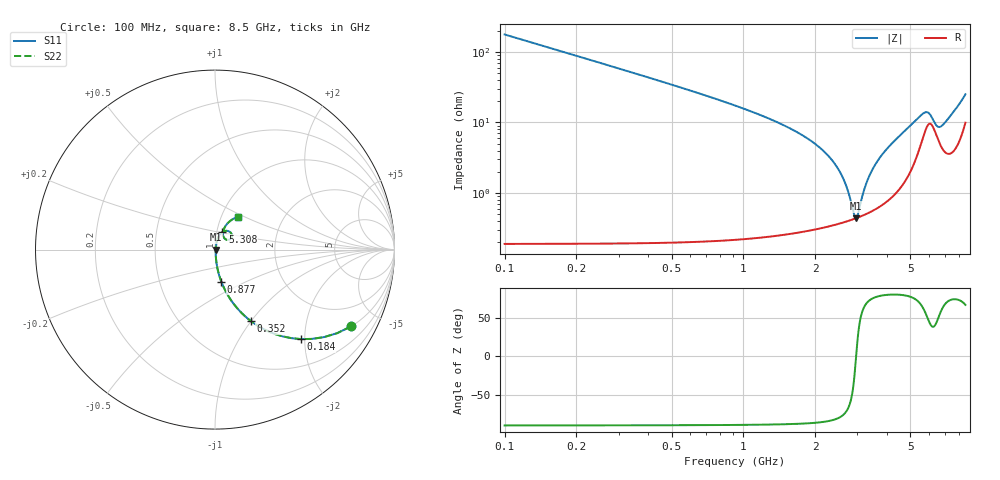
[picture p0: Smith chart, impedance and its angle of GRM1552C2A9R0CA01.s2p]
!Murata Part Number: GRM1552C2A9R0CA01
!These Parameters are Measured in Series Mode Connection
!Data Generated on Mar 30, 2021
!  o--ll--o
!Port1  Port2
!  o------o
!Operation Temp=25[degC], DC Bias Voltage=0[V]
!Freq. Start=100[MHz] Stop=9[GHz] 401[Steps]
# Hz S RI R 50
!Freq.(Hz) S11(Real) S11(Imag) S21(Real) S21(Imag) S12(Real) S12(Imag) S22(Real) S22(Imag)
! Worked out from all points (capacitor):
!   401 points, 100 MHz to 8.5 GHz, reference 50 ohm
!   read as one part in series: C = 9 pF near 142 MHz
!   lowest |Z| = 441 mohm at 2.956 GHz (marker M1)
!   series resonance near 2.964 GHz, so ESL is about 320 pH
!   S11 on the Smith chart (normalised r, x): 100 MHz: 1.00, -3.53; 184 MHz: 1.00, -1.92; 352 MHz: 1.00, -0.99; 877 MHz: 1.00, -0.37; 5.308 GHz: 1.06, +0.21; 8.5 GHz: 1.20, +0.46
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1e8  0.7571 -0.4283  0.2429 0.4283  0.2429 0.4283  0.7571 -0.4283
1.84e8  0.4784 -0.4985  0.5216 0.4985  0.5216 0.4985  0.4784 -0.4985
3.52e8  0.1982 -0.3967  0.8018 0.3967  0.8018 0.3967  0.1982 -0.3967
5.41e8  0.0925 -0.2866  0.9075 0.2866  0.9075 0.2866  0.0925 -0.2866
8.77e8  0.035 -0.178  0.965 0.178  0.965 0.178  0.035 -0.178
1.507e9  0.0102 -0.0871  0.9898 0.0871  0.9898 0.0871  0.0102 -0.0871
2.074e9  0.0051 -0.0444  0.9949 0.0444  0.9949 0.0444  0.0051 -0.0444
2.431e9  0.00416 -0.0246  0.9958 0.0246  0.9958 0.0246  0.00416 -0.0246
2.683e9  0.00407 -0.0125  0.9959 0.0125  0.9959 0.0125  0.00407 -0.0125
2.914e9  0.0043 -0.00215  0.9957 0.00215  0.9957 0.00215  0.0043 -0.00215
2.956e9  0.00437 -0.000345  0.9956 0.000345  0.9956 0.000345  0.00437 -0.000345
3.019e9  0.0045 0.00233  0.9955 -0.00233  0.9955 -0.00233  0.0045 0.00233
3.25e9  0.00513 0.0119  0.9949 -0.0119  0.9949 -0.0119  0.00513 0.0119
3.46e9  0.00594 0.0202  0.9941 -0.0202  0.9941 -0.0202  0.00594 0.0202
3.817e9  0.00793 0.0342  0.9921 -0.0342  0.9921 -0.0342  0.00793 0.0342
4.3e9  0.0123 0.0534  0.9877 -0.0534  0.9877 -0.0534  0.0123 0.0534
5.308e9  0.0412 0.0977  0.9588 -0.0977  0.9588 -0.0977  0.0412 0.0977
5.707e9  0.0752 0.1027  0.9248 -0.1027  0.9248 -0.1027  0.0752 0.1027
5.98e9  0.0939 0.0797  0.9061 -0.0797  0.9061 -0.0797  0.0939 0.0797
6.526e9  0.058 0.0582  0.942 -0.0582  0.942 -0.0582  0.058 0.0582
7.114e9  0.0442 0.0934  0.9558 -0.0934  0.9558 -0.0934  0.0442 0.0934
8.5e9  0.1287 0.1826  0.8713 -0.1826  0.8713 -0.1826  0.1287 0.1826
